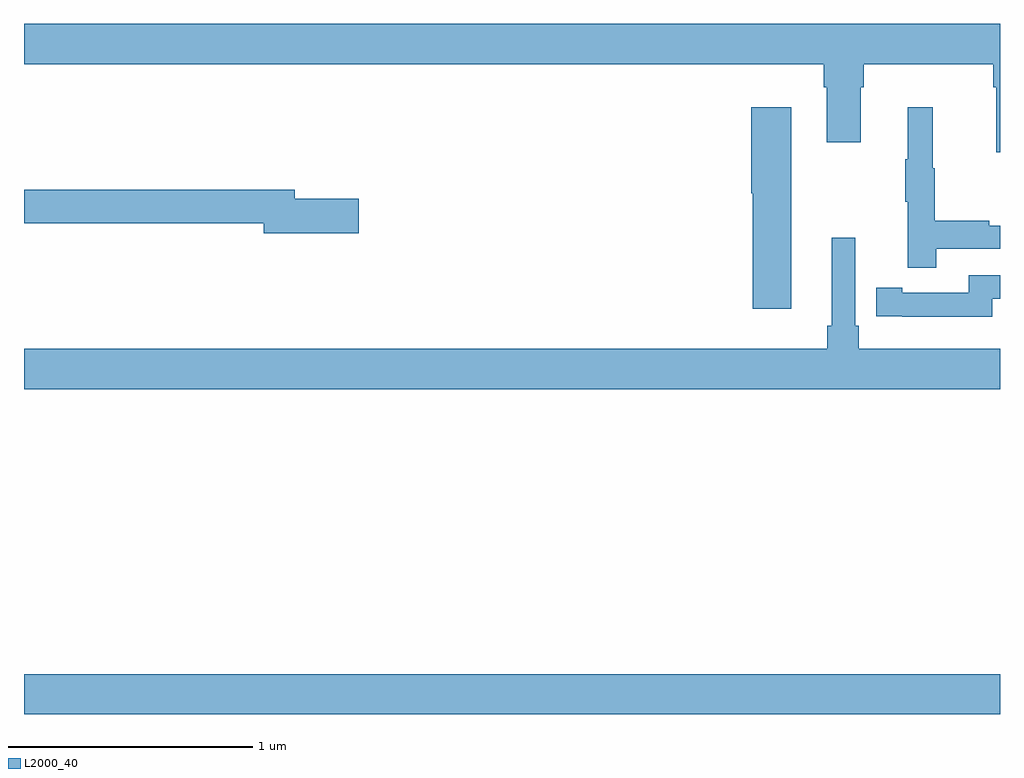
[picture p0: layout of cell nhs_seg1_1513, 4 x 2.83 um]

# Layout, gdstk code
import gdstk
lib = gdstk.Library(unit=1e-6, precision=1e-09)
def R(c, l, rs):  # rectangles x0, y0, x1, y1
    for r in rs: c.add(gdstk.rectangle(r[:2], r[2:], *l))
def P(c, l, *ps):  # polygons
    for p in ps: c.add(gdstk.Polygon(p, *l))
L2000_40 = (2000, 40)

nhs_seg1_1513 = lib.new_cell('nhs_seg1_1513')
R(nhs_seg1_1513, L2000_40, [(193,550.4,197,550.564)])
P(nhs_seg1_1513, L2000_40, [(197,553.228),(193,553.228),(193,553.064),(196.277,553.064),(196.277,552.968),(196.289,552.968),(196.289,552.744),(196.429,552.744),(196.429,552.968),(196.442,552.968),(196.442,553.064),(196.973,553.064),(196.973,552.968),(196.985,552.968),(196.985,552.702),(197,552.702)],
  [(196.739,552.306),(197,552.306),(197,552.402),(196.955,552.402),(196.955,552.422),(196.732,552.422),(196.732,552.636),(196.724,552.636),(196.724,552.886),(196.622,552.886),(196.622,552.673),(196.611,552.673),(196.611,552.499),(196.622,552.499),(196.622,552.228),(196.739,552.228)],
  [(196.144,552.886),(195.98,552.886),(195.98,552.534),(195.986,552.534),(195.986,552.06),(196.144,552.06)],
  [(194.371,552.512),(194.11,552.512),(194.11,552.548),(193,552.548),(193,552.412),(193.982,552.412),(193.982,552.37),(194.371,552.37)],
  [(197,551.896),(196.421,551.896),(196.421,551.992),(196.407,551.992),(196.407,552.352),(196.31,552.352),(196.31,551.992),(196.291,551.992),(196.291,551.896),(193,551.896),(193,551.732),(197,551.732)],
  [(196.968,552.102),(197,552.102),(197,552.198),(196.872,552.198),(196.872,552.126),(196.6,552.126),(196.6,552.146),(196.492,552.146),(196.492,552.03),(196.6,552.03),(196.6,552.029),(196.968,552.029)])

lib.write_gds('nhs_seg1_1513.gds')
